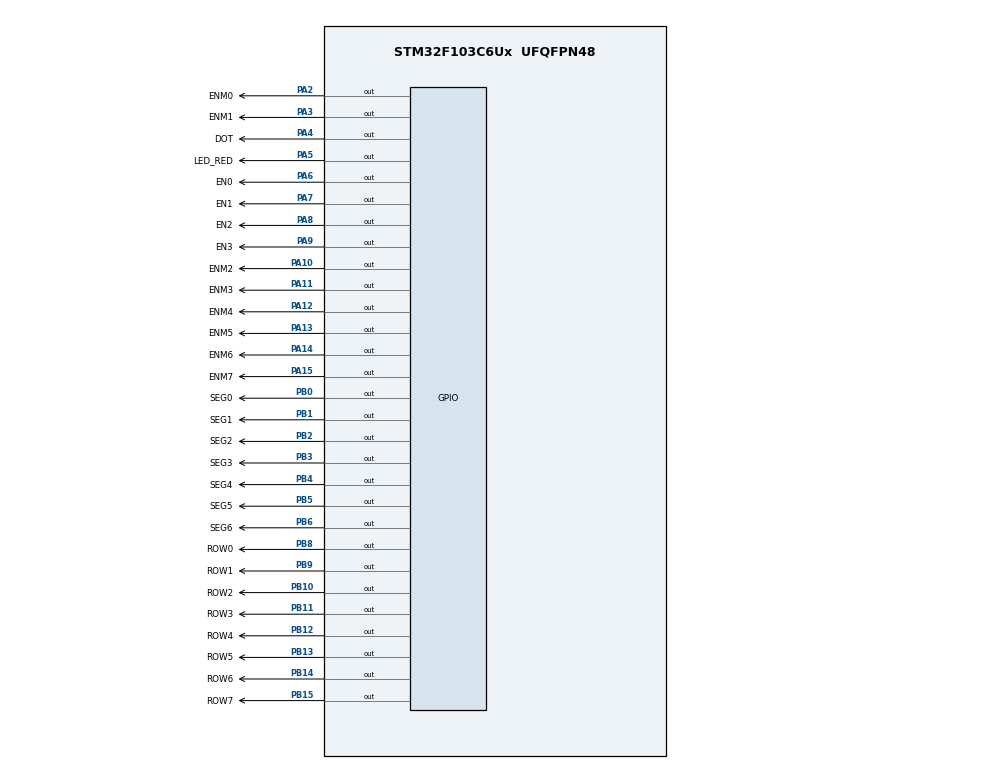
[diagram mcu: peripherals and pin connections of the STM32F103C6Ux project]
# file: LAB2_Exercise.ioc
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Mcu.Family=STM32F1
Mcu.Name=STM32F103C6Ux
Mcu.Package=UFQFPN48
NVIC.PriorityGroup=NVIC_PRIORITYGROUP_4
NVIC.TIM2_IRQn=true\:0\:0\:false\:false\:true\:true\:true
PA10.GPIO_Label=ENM2
PA10.Signal=GPIO_Output
PA11.GPIO_Label=ENM3
PA11.Signal=GPIO_Output
PA12.GPIO_Label=ENM4
PA12.Signal=GPIO_Output
PA13.GPIO_Label=ENM5
PA13.Signal=GPIO_Output
PA14.GPIO_Label=ENM6
PA14.Signal=GPIO_Output
PA15.GPIO_Label=ENM7
PA15.Signal=GPIO_Output
PA2.GPIO_Label=ENM0
PA2.Signal=GPIO_Output
PA3.GPIO_Label=ENM1
PA3.Signal=GPIO_Output
PA4.GPIO_Label=DOT
PA4.Signal=GPIO_Output
PA5.GPIO_Label=LED_RED
PA5.Signal=GPIO_Output
PA6.GPIO_Label=EN0
PA6.Signal=GPIO_Output
PA7.GPIO_Label=EN1
PA7.Signal=GPIO_Output
PA8.GPIO_Label=EN2
PA8.Signal=GPIO_Output
PA9.GPIO_Label=EN3
PA9.Signal=GPIO_Output
PB0.GPIO_Label=SEG0
PB0.Signal=GPIO_Output
PB1.GPIO_Label=SEG1
PB1.Signal=GPIO_Output
PB10.GPIO_Label=ROW2
PB10.Signal=GPIO_Output
PB11.GPIO_Label=ROW3
PB11.Signal=GPIO_Output
PB12.GPIO_Label=ROW4
PB12.Signal=GPIO_Output
PB13.GPIO_Label=ROW5
PB13.Signal=GPIO_Output
PB14.GPIO_Label=ROW6
PB14.Signal=GPIO_Output
PB15.GPIO_Label=ROW7
PB15.Signal=GPIO_Output
PB2.GPIO_Label=SEG2
PB2.Signal=GPIO_Output
PB3.GPIO_Label=SEG3
PB3.Signal=GPIO_Output
PB4.GPIO_Label=SEG4
PB4.Signal=GPIO_Output
PB5.GPIO_Label=SEG5
PB5.Signal=GPIO_Output
PB6.GPIO_Label=SEG6
PB6.Signal=GPIO_Output
PB8.GPIO_Label=ROW0
PB8.Signal=GPIO_Output
PB9.GPIO_Label=ROW1
PB9.Signal=GPIO_Output
ProjectManager.HeapSize=0x200
ProjectManager.StackSize=0x400
ProjectManager.TargetToolchain=STM32CubeIDE
RCC.APB1Freq_Value=8000000
RCC.APB2Freq_Value=8000000
TIM2.Period=9
TIM2.Prescaler=7999
VP_SYS_VS_ND.Mode=No_Debug
VP_TIM2_VS_ClockSourceINT.Mode=Internal
board=custom

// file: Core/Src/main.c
   /* USER CODE BEGIN Header */
/**
  ******************************************************************************
  * @file           : main.c
  * @brief          : Main program body
  ******************************************************************************
  * @attention
  *
  * <h2><center>&copy; Copyright (c) 2024 STMicroelectronics.
  * All rights reserved.</center></h2>
  *
  * This software component is licensed by ST under BSD 3-Clause license,
  * the "License"; You may not use this file except in compliance with the
  * License. You may obtain a copy of the License at:
  *                        opensource.org/licenses/BSD-3-Clause
  *
  ******************************************************************************
  */
/* USER CODE END Header */
#include "main.h"

/* USER CODE BEGIN Includes */
#include "software_timer.h"
/* USER CODE END Includes */

TIM_HandleTypeDef htim2;

void SystemClock_Config(void);
static void MX_GPIO_Init(void);
static void MX_TIM2_Init(void);
/* USER CODE BEGIN PFP */
void display7SEG(int num);
void update7SEG(int index);
void updateClockBuffer();
/* USER CODE END PFP */

/* USER CODE BEGIN 0 */
const int MAX_LED = 4;
int index_led = 0;
int led_buffer[4] = {1 , 2 , 3 , 4};
int hour = 15 , minute = 8 , second = 50;
/* USER CODE END 0 */

int main(void)
{

  /* MCU Configuration--------------------------------------------------------*/

  /* Reset of all peripherals, Initializes the Flash interface and the Systick. */
  HAL_Init();

  /* Configure the system clock */
  SystemClock_Config();

  /* Initialize all configured peripherals */
  MX_GPIO_Init();
  MX_TIM2_Init();
  /* USER CODE BEGIN 2 */
  HAL_TIM_Base_Start_IT (& htim2 ) ;
  /* USER CODE END 2 */

  /* Infinite loop */
  /* USER CODE BEGIN WHILE */
  setTimer(0, 2);
  setTimer(1, 3);
  setTimer(2, 7);
  while (1)
  {
	if(timer_flag[0] == 1) {
		timer_flag[0] = 0;
		setTimer(0, 1000);

		HAL_GPIO_TogglePin(DOT_GPIO_Port, DOT_Pin);
	}
	if(timer_flag[1] == 1) {
		timer_flag[1] = 0;
		setTimer(1, 250);

		if(index_led >= 4) {
			index_led = 0;
		}
		update7SEG(index_led++);
	}
	if(timer_flag[2] == 1) {
		timer_flag[2] = 0;
		setTimer(2, 1000);

		second ++;
		if(second >= 60) {
			second = 0;
			minute++;
		}
		if( minute >= 60) {
			minute = 0;
			hour ++;
		}
		if( hour >=24) {
			hour = 0;
		}
		updateClockBuffer();
	}
    /* USER CODE END WHILE */

  }
}

void SystemClock_Config(void)
{
  RCC_OscInitTypeDef RCC_OscInitStruct = {0};
  RCC_ClkInitTypeDef RCC_ClkInitStruct = {0};

  /** Initializes the RCC Oscillators according to the specified parameters
  * in the RCC_OscInitTypeDef structure.
  */
  RCC_OscInitStruct.OscillatorType = RCC_OSCILLATORTYPE_HSI;
  RCC_OscInitStruct.HSIState = RCC_HSI_ON;
  RCC_OscInitStruct.HSICalibrationValue = RCC_HSICALIBRATION_DEFAULT;
  RCC_OscInitStruct.PLL.PLLState = RCC_PLL_NONE;
  if (HAL_RCC_OscConfig(&RCC_OscInitStruct) != HAL_OK)
  {
    Error_Handler();
  }
  /** Initializes the CPU, AHB and APB buses clocks
  */
  RCC_ClkInitStruct.ClockType = RCC_CLOCKTYPE_HCLK|RCC_CLOCKTYPE_SYSCLK
                              |RCC_CLOCKTYPE_PCLK1|RCC_CLOCKTYPE_PCLK2;
  RCC_ClkInitStruct.SYSCLKSource = RCC_SYSCLKSOURCE_HSI;
  RCC_ClkInitStruct.AHBCLKDivider = RCC_SYSCLK_DIV1;
  RCC_ClkInitStruct.APB1CLKDivider = RCC_HCLK_DIV1;
  RCC_ClkInitStruct.APB2CLKDivider = RCC_HCLK_DIV1;

  if (HAL_RCC_ClockConfig(&RCC_ClkInitStruct, FLASH_LATENCY_0) != HAL_OK)
  {
    Error_Handler();
  }
}

static void MX_TIM2_Init(void)
{

  TIM_ClockConfigTypeDef sClockSourceConfig = {0};
  TIM_MasterConfigTypeDef sMasterConfig = {0};

  htim2.Instance = TIM2;
  htim2.Init.Prescaler = 7999;
  htim2.Init.CounterMode = TIM_COUNTERMODE_UP;
  htim2.Init.Period = 9;
  htim2.Init.ClockDivision = TIM_CLOCKDIVISION_DIV1;
  htim2.Init.AutoReloadPreload = TIM_AUTORELOAD_PRELOAD_DISABLE;
  if (HAL_TIM_Base_Init(&htim2) != HAL_OK)
  {
    Error_Handler();
  }
  sClockSourceConfig.ClockSource = TIM_CLOCKSOURCE_INTERNAL;
  if (HAL_TIM_ConfigClockSource(&htim2, &sClockSourceConfig) != HAL_OK)
  {
    Error_Handler();
  }
  sMasterConfig.MasterOutputTrigger = TIM_TRGO_RESET;
  sMasterConfig.MasterSlaveMode = TIM_MASTERSLAVEMODE_DISABLE;
  if (HAL_TIMEx_MasterConfigSynchronization(&htim2, &sMasterConfig) != HAL_OK)
  {
    Error_Handler();
  }

}

static void MX_GPIO_Init(void)
{
  GPIO_InitTypeDef GPIO_InitStruct = {0};

  /* GPIO Ports Clock Enable */
  __HAL_RCC_GPIOA_CLK_ENABLE();
  __HAL_RCC_GPIOB_CLK_ENABLE();

  /*Configure GPIO pin Output Level */
  HAL_GPIO_WritePin(GPIOA, DOT_Pin|LED_RED_Pin|EN0_Pin|EN1_Pin
                          |EN2_Pin|EN3_Pin, GPIO_PIN_RESET);

  /*Configure GPIO pin Output Level */
  HAL_GPIO_WritePin(GPIOB, SEG0_Pin|SEG1_Pin|SEG2_Pin|SEG3_Pin
                          |SEG4_Pin|SEG5_Pin|SEG6_Pin, GPIO_PIN_RESET);

  /*Configure GPIO pins : DOT_Pin LED_RED_Pin EN0_Pin EN1_Pin
                           EN2_Pin EN3_Pin */
  GPIO_InitStruct.Pin = DOT_Pin|LED_RED_Pin|EN0_Pin|EN1_Pin
                          |EN2_Pin|EN3_Pin;
  GPIO_InitStruct.Mode = GPIO_MODE_OUTPUT_PP;
  GPIO_InitStruct.Pull = GPIO_NOPULL;
  GPIO_InitStruct.Speed = GPIO_SPEED_FREQ_LOW;
  HAL_GPIO_Init(GPIOA, &GPIO_InitStruct);

  /*Configure GPIO pins : SEG0_Pin SEG1_Pin SEG2_Pin SEG3_Pin
                           SEG4_Pin SEG5_Pin SEG6_Pin */
  GPIO_InitStruct.Pin = SEG0_Pin|SEG1_Pin|SEG2_Pin|SEG3_Pin
                          |SEG4_Pin|SEG5_Pin|SEG6_Pin;
  GPIO_InitStruct.Mode = GPIO_MODE_OUTPUT_PP;
  GPIO_InitStruct.Pull = GPIO_NOPULL;
  GPIO_InitStruct.Speed = GPIO_SPEED_FREQ_LOW;
  HAL_GPIO_Init(GPIOB, &GPIO_InitStruct);

}

/* USER CODE BEGIN 4 */
void HAL_TIM_PeriodElapsedCallback ( TIM_HandleTypeDef * htim )
{
	timerRun();
}

void display7SEG(int num)
{
	switch (num)
	{
		case 0:
			HAL_GPIO_WritePin(SEG0_GPIO_Port, SEG0_Pin, GPIO_PIN_RESET);
			HAL_GPIO_WritePin(SEG1_GPIO_Port, SEG1_Pin, GPIO_PIN_RESET);
			HAL_GPIO_WritePin(SEG2_GPIO_Port, SEG2_Pin, GPIO_PIN_RESET);
			HAL_GPIO_WritePin(SEG3_GPIO_Port, SEG3_Pin, GPIO_PIN_RESET);
			HAL_GPIO_WritePin(SEG4_GPIO_Port, SEG4_Pin, GPIO_PIN_RESET);
			HAL_GPIO_WritePin(SEG5_GPIO_Port, SEG5_Pin, GPIO_PIN_RESET);
			HAL_GPIO_WritePin(SEG6_GPIO_Port, SEG6_Pin, GPIO_PIN_SET);
			break;
		case 1:
			HAL_GPIO_WritePin(SEG0_GPIO_Port, SEG0_Pin, GPIO_PIN_SET);
			HAL_GPIO_WritePin(SEG1_GPIO_Port, SEG1_Pin, GPIO_PIN_RESET);
			HAL_GPIO_WritePin(SEG2_GPIO_Port, SEG2_Pin, GPIO_PIN_RESET);
			HAL_GPIO_WritePin(SEG3_GPIO_Port, SEG3_Pin, GPIO_PIN_SET);
			HAL_GPIO_WritePin(SEG4_GPIO_Port, SEG4_Pin, GPIO_PIN_SET);
			HAL_GPIO_WritePin(SEG5_GPIO_Port, SEG5_Pin, GPIO_PIN_SET);
			HAL_GPIO_WritePin(SEG6_GPIO_Port, SEG6_Pin, GPIO_PIN_SET);
			break;
		case 2:
			HAL_GPIO_WritePin(SEG0_GPIO_Port, SEG0_Pin, GPIO_PIN_RESET);
			HAL_GPIO_WritePin(SEG1_GPIO_Port, SEG1_Pin, GPIO_PIN_RESET);
			HAL_GPIO_WritePin(SEG2_GPIO_Port, SEG2_Pin, GPIO_PIN_SET);
			HAL_GPIO_WritePin(SEG3_GPIO_Port, SEG3_Pin, GPIO_PIN_RESET);
			HAL_GPIO_WritePin(SEG4_GPIO_Port, SEG4_Pin, GPIO_PIN_RESET);
			HAL_GPIO_WritePin(SEG5_GPIO_Port, SEG5_Pin, GPIO_PIN_SET);
			HAL_GPIO_WritePin(SEG6_GPIO_Port, SEG6_Pin, GPIO_PIN_RESET);
			break;
		  case 3:
			HAL_GPIO_WritePin(SEG0_GPIO_Port, SEG0_Pin, GPIO_PIN_RESET);
			HAL_GPIO_WritePin(SEG1_GPIO_Port, SEG1_Pin, GPIO_PIN_RESET);
			HAL_GPIO_WritePin(SEG2_GPIO_Port, SEG2_Pin, GPIO_PIN_RESET);
			HAL_GPIO_WritePin(SEG3_GPIO_Port, SEG3_Pin, GPIO_PIN_RESET);
			HAL_GPIO_WritePin(SEG4_GPIO_Port, SEG4_Pin, GPIO_PIN_SET);
			HAL_GPIO_WritePin(SEG5_GPIO_Port, SEG5_Pin, GPIO_PIN_SET);
			HAL_GPIO_WritePin(SEG6_GPIO_Port, SEG6_Pin, GPIO_PIN_RESET);
			break;
		  case 4:
			HAL_GPIO_WritePin(SEG0_GPIO_Port, SEG0_Pin, GPIO_PIN_SET);
			HAL_GPIO_WritePin(SEG1_GPIO_Port, SEG1_Pin, GPIO_PIN_RESET);
			HAL_GPIO_WritePin(SEG2_GPIO_Port, SEG2_Pin, GPIO_PIN_RESET);
			HAL_GPIO_WritePin(SEG3_GPIO_Port, SEG3_Pin, GPIO_PIN_SET);
			HAL_GPIO_WritePin(SEG4_GPIO_Port, SEG4_Pin, GPIO_PIN_SET);
			HAL_GPIO_WritePin(SEG5_GPIO_Port, SEG5_Pin, GPIO_PIN_RESET);
			HAL_GPIO_WritePin(SEG6_GPIO_Port, SEG6_Pin, GPIO_PIN_RESET);
			break;
		  case 5:
			HAL_GPIO_WritePin(SEG0_GPIO_Port, SEG0_Pin, GPIO_PIN_RESET);
			HAL_GPIO_WritePin(SEG1_GPIO_Port, SEG1_Pin, GPIO_PIN_SET);
			HAL_GPIO_WritePin(SEG2_GPIO_Port, SEG2_Pin, GPIO_PIN_RESET);
			HAL_GPIO_WritePin(SEG3_GPIO_Port, SEG3_Pin, GPIO_PIN_RESET);
			HAL_GPIO_WritePin(SEG4_GPIO_Port, SEG4_Pin, GPIO_PIN_SET);
			HAL_GPIO_WritePin(SEG5_GPIO_Port, SEG5_Pin, GPIO_PIN_RESET);
			HAL_GPIO_WritePin(SEG6_GPIO_Port, SEG6_Pin, GPIO_PIN_RESET);
			break;
		  case 6:
			HAL_GPIO_WritePin(SEG0_GPIO_Port, SEG0_Pin, GPIO_PIN_RESET);
			HAL_GPIO_WritePin(SEG1_GPIO_Port, SEG1_Pin, GPIO_PIN_SET);
			HAL_GPIO_WritePin(SEG2_GPIO_Port, SEG2_Pin, GPIO_PIN_RESET);
			HAL_GPIO_WritePin(SEG3_GPIO_Port, SEG3_Pin, GPIO_PIN_RESET);
			HAL_GPIO_WritePin(SEG4_GPIO_Port, SEG4_Pin, GPIO_PIN_RESET);
			HAL_GPIO_WritePin(SEG5_GPIO_Port, SEG5_Pin, GPIO_PIN_RESET);
			HAL_GPIO_WritePin(SEG6_GPIO_Port, SEG6_Pin, GPIO_PIN_RESET);
			break;
		  case 7:
			HAL_GPIO_WritePin(SEG0_GPIO_Port, SEG0_Pin, GPIO_PIN_RESET);
			HAL_GPIO_WritePin(SEG1_GPIO_Port, SEG1_Pin, GPIO_PIN_RESET);
			HAL_GPIO_WritePin(SEG2_GPIO_Port, SEG2_Pin, GPIO_PIN_RESET);
			HAL_GPIO_WritePin(SEG3_GPIO_Port, SEG3_Pin, GPIO_PIN_SET);
			HAL_GPIO_WritePin(SEG4_GPIO_Port, SEG4_Pin, GPIO_PIN_SET);
			HAL_GPIO_WritePin(SEG5_GPIO_Port, SEG5_Pin, GPIO_PIN_SET);
			HAL_GPIO_WritePin(SEG6_GPIO_Port, SEG6_Pin, GPIO_PIN_SET);
			break;
		  case 8:
			HAL_GPIO_WritePin(SEG0_GPIO_Port, SEG0_Pin, GPIO_PIN_RESET);
			HAL_GPIO_WritePin(SEG1_GPIO_Port, SEG1_Pin, GPIO_PIN_RESET);
			HAL_GPIO_WritePin(SEG2_GPIO_Port, SEG2_Pin, GPIO_PIN_RESET);
			HAL_GPIO_WritePin(SEG3_GPIO_Port, SEG3_Pin, GPIO_PIN_RESET);
			HAL_GPIO_WritePin(SEG4_GPIO_Port, SEG4_Pin, GPIO_PIN_RESET);
			HAL_GPIO_WritePin(SEG5_GPIO_Port, SEG5_Pin, GPIO_PIN_RESET);
			HAL_GPIO_WritePin(SEG6_GPIO_Port, SEG6_Pin, GPIO_PIN_RESET);
			break;
		  default:
			HAL_GPIO_WritePin(SEG0_GPIO_Port, SEG0_Pin, GPIO_PIN_RESET);
			HAL_GPIO_WritePin(SEG1_GPIO_Port, SEG1_Pin, GPIO_PIN_RESET);
			HAL_GPIO_WritePin(SEG2_GPIO_Port, SEG2_Pin, GPIO_PIN_RESET);
			HAL_GPIO_WritePin(SEG3_GPIO_Port, SEG3_Pin, GPIO_PIN_RESET);
			HAL_GPIO_WritePin(SEG4_GPIO_Port, SEG4_Pin, GPIO_PIN_SET);
			HAL_GPIO_WritePin(SEG5_GPIO_Port, SEG5_Pin, GPIO_PIN_RESET);
			HAL_GPIO_WritePin(SEG6_GPIO_Port, SEG6_Pin, GPIO_PIN_RESET);
			break;
	}
}
void update7SEG(int index) {
 switch (index) {
 	 case 0:
 		 // Display the first 7 SEG with led_buffer [0]
 		 HAL_GPIO_WritePin(EN0_GPIO_Port, EN0_Pin, RESET);
 		 HAL_GPIO_WritePin(EN1_GPIO_Port, EN1_Pin, SET);
 		 HAL_GPIO_WritePin(EN2_GPIO_Port, EN2_Pin, SET);
 		 HAL_GPIO_WritePin(EN3_GPIO_Port, EN3_Pin, SET);
 		 display7SEG(led_buffer[index]);
 		 break ;
 	 case 1:
 		 // Display the second 7 SEG with led_buffer [1]
 		 HAL_GPIO_WritePin(EN0_GPIO_Port, EN0_Pin, SET);
 		 HAL_GPIO_WritePin(EN1_GPIO_Port, EN1_Pin, RESET);
 		 HAL_GPIO_WritePin(EN2_GPIO_Port, EN2_Pin, SET);
 		 HAL_GPIO_WritePin(EN3_GPIO_Port, EN3_Pin, SET);
 		 display7SEG(led_buffer[index]);
 		 break ;
 	 case 2:
 		 // Display the third 7 SEG with led_buffer [2]
 		 HAL_GPIO_WritePin(EN0_GPIO_Port, EN0_Pin, SET);
 		 HAL_GPIO_WritePin(EN1_GPIO_Port, EN1_Pin, SET);
 		 HAL_GPIO_WritePin(EN2_GPIO_Port, EN2_Pin, RESET);
 		 HAL_GPIO_WritePin(EN3_GPIO_Port, EN3_Pin, SET);
 		 display7SEG(led_buffer[index]);
 		 break ;
 	 case 3:
 		 // Display the forth 7 SEG with led_buffer [3]
 		 HAL_GPIO_WritePin(EN0_GPIO_Port, EN0_Pin, SET);
 		 HAL_GPIO_WritePin(EN1_GPIO_Port, EN1_Pin, SET);
 		 HAL_GPIO_WritePin(EN2_GPIO_Port, EN2_Pin, SET);
 		 HAL_GPIO_WritePin(EN3_GPIO_Port, EN3_Pin, RESET);
 		 display7SEG(led_buffer[index]);
 		 break ;
 	 default :
 		 break ;
 }
}
void updateClockBuffer() {
	led_buffer[0] = hour / 10; // Tens place of the hour
	led_buffer[1] = hour % 10; // Ones place of the hour

	led_buffer[2] = minute / 10; // Tens place of the minute
	led_buffer[3] = minute % 10; // Ones place of the minute
}
/* USER CODE END 4 */

void Error_Handler(void)
{
  __disable_irq();
  while (1)
  {
  }
}

/************************ (C) COPYRIGHT STMicroelectronics *****END OF FILE****/
